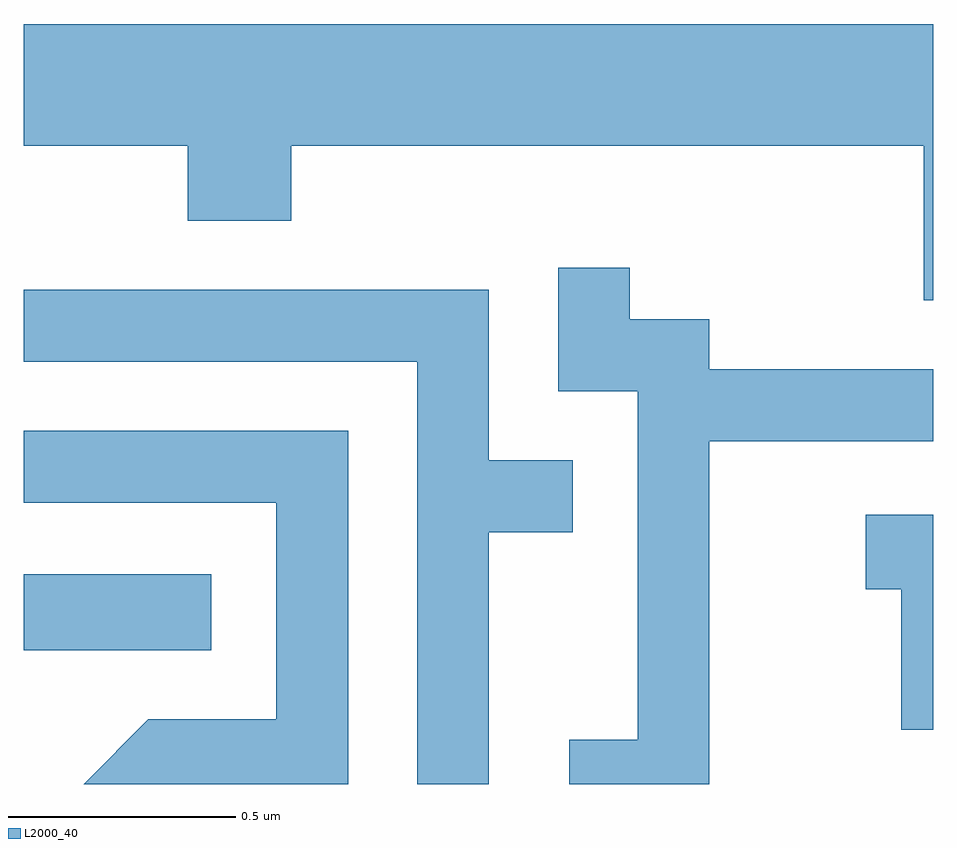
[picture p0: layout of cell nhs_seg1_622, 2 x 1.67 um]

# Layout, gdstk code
import gdstk
lib = gdstk.Library(unit=1e-6, precision=1e-09)
def R(c, l, rs):  # rectangles x0, y0, x1, y1
    for r in rs: c.add(gdstk.rectangle(r[:2], r[2:], *l))
def P(c, l, *ps):  # polygons
    for p in ps: c.add(gdstk.Polygon(p, *l))
L2000_40 = (2000, 40)

nhs_seg1_622 = lib.new_cell('nhs_seg1_622')
R(nhs_seg1_622, L2000_40, [(189.611,914.006,190.023,914.174)])
P(nhs_seg1_622, L2000_40, [(191.611,915.384),(189.611,915.384),(189.611,915.116),(189.971,915.116),(189.971,914.951),(190.199,914.951),(190.199,915.116),(191.591,915.116),(191.591,914.776),(191.611,914.776)],
  [(191.119,914.466),(191.611,914.466),(191.611,914.624),(191.119,914.624),(191.119,914.734),(190.944,914.734),(190.944,914.848),(190.786,914.848),(190.786,914.576),(190.961,914.576),(190.961,913.809),(190.811,913.809),(190.811,913.712),(191.119,913.712)],
  [(190.634,914.266),(190.818,914.266),(190.818,914.424),(190.634,914.424),(190.634,914.799),(189.611,914.799),(189.611,914.641),(190.476,914.641),(190.476,913.712),(190.634,913.712)],
  [(190.324,914.489),(189.611,914.489),(189.611,914.331),(190.166,914.331),(190.166,913.854),(189.884,913.854),(189.742,913.712),(190.324,913.712)],
  [(191.611,914.304),(191.463,914.304),(191.463,914.141),(191.541,914.141),(191.541,913.831),(191.611,913.831)])

lib.write_gds('nhs_seg1_622.gds')
